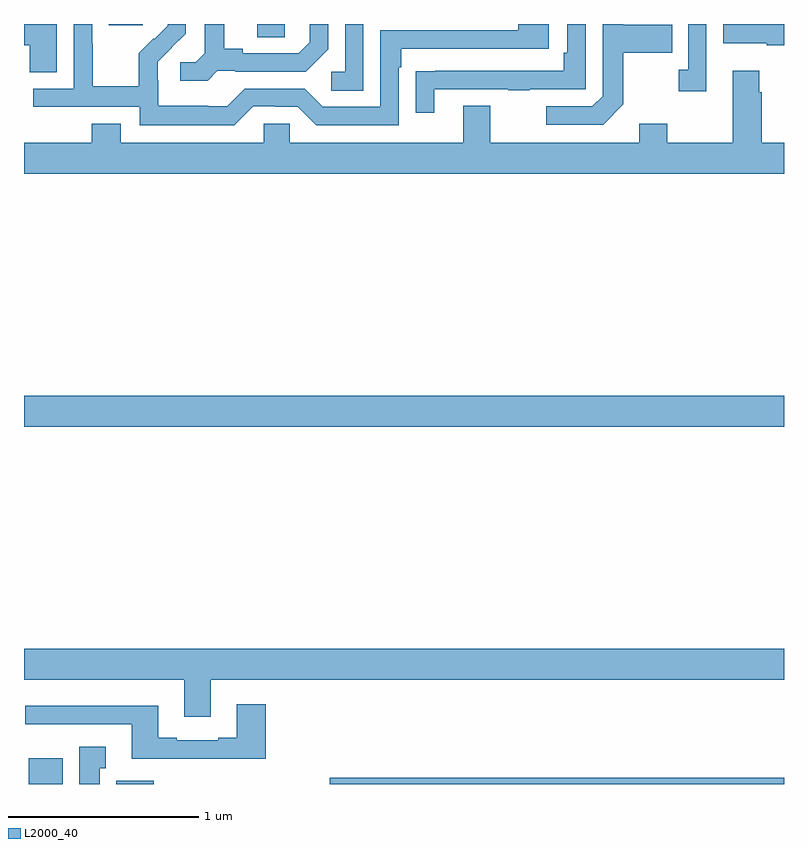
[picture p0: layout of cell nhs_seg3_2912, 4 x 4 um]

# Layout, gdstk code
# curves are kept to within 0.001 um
import gdstk
lib = gdstk.Library(unit=1e-6, precision=1e-09)
def R(c, l, rs):  # rectangles x0, y0, x1, y1
    for r in rs: c.add(gdstk.rectangle(r[:2], r[2:], *l))
def P(c, l, *ps):  # polygons
    for p in ps: c.add(gdstk.Polygon(p, *l))
L2000_40 = (2000, 40)

nhs_seg3_2912 = lib.new_cell('nhs_seg3_2912')
R(nhs_seg3_2912, L2000_40, [(263.024,668.4,263.203,668.536), (263.486,668.4,263.683,668.416), (264.609,668.4,267,668.432), (263,670.28,267,670.444), (264.227,672.331,264.372,672.4), (263.447,672.393,263.626,672.4)])
P(nhs_seg3_2912, L2000_40, [(264.207,671.967),(264.323,671.967),(264.323,671.964),(264.441,671.964),(264.537,671.868),(264.972,671.868),(264.972,672.173),(264.985,672.173),(264.985,672.27),(265.762,672.27),(265.762,672.4),(265.601,672.4),(265.601,672.366),(264.876,672.366),(264.876,671.964),(264.573,671.964),(264.477,672.06),(264.162,672.06),(264.069,671.967),(263.969,671.967),(263.969,671.971),(263.706,671.971),(263.706,672.105),(263.704,672.105),(263.704,672.202),(263.85,672.35),(263.85,672.4),(263.756,672.4),(263.756,672.392),(263.685,672.321),(263.682,672.324),(263.605,672.247),(263.605,672.073),(263.361,672.073),(263.361,672.296),(263.358,672.296),(263.358,672.4),(263.262,672.4),(263.262,672.06),(263.049,672.06),(263.049,671.964),(263.61,671.964),(263.61,671.867),(264.107,671.867)],
  [(264.018,672.153),(264.112,672.153),(264.112,672.15),(264.484,672.15),(264.6,672.266),(264.6,672.4),(264.503,672.4),(264.503,672.303),(264.446,672.246),(264.151,672.246),(264.151,672.269),(264.055,672.269),(264.055,672.4),(263.951,672.4),(263.951,672.245),(263.904,672.198),(263.823,672.198),(263.823,672.101),(263.966,672.101)],
  [(266.155,671.977),(266.155,672.25),(266.411,672.25),(266.411,672.397),(266.155,672.397),(266.155,672.4),(266.046,672.4),(266.046,672.021),(265.992,671.967),(265.749,671.967),(265.749,671.871),(266.049,671.871)],
  [(265.159,672.057),(265.549,672.057),(265.549,672.052),(265.661,672.052),(265.661,672.057),(265.956,672.057),(265.956,672.4),(265.86,672.4),(265.86,672.25),(265.84,672.25),(265.84,672.153),(265.165,672.153),(265.165,672.152),(265.063,672.152),(265.063,671.934),(265.159,671.934)],
  [(264.786,672.4),(264.69,672.4),(264.69,672.15),(264.618,672.15),(264.618,672.049),(264.786,672.049)],
  [(263.173,672.4),(263,672.4),(263,672.287),(263.03,672.287),(263.03,672.145),(263.173,672.145)],
  [(267,672.4),(266.679,672.4),(266.679,672.299),(266.909,672.299),(266.909,672.287),(267,672.287)],
  [(266.592,672.4),(266.496,672.4),(266.496,672.158),(266.445,672.158),(266.445,672.045),(266.592,672.045)],
  [(265.313,671.971),(265.313,671.776),(264.399,671.776),(264.399,671.874),(264.261,671.874),(264.261,671.776),(263.509,671.776),(263.509,671.875),(263.357,671.875),(263.357,671.776),(263,671.776),(263,671.612),(267,671.612),(267,671.776),(266.882,671.776),(266.882,672.041),(266.869,672.041),(266.869,672.154),(266.729,672.154),(266.729,671.776),(266.385,671.776),(266.385,671.875),(266.237,671.875),(266.237,671.776),(265.453,671.776),(265.453,671.971)],
  [(263.983,668.948),(267,668.948),(267,669.112),(263,669.112),(263,668.948),(263.843,668.948),(263.843,668.754),(263.983,668.754)],
  [(264.272,668.821),(264.119,668.821),(264.119,668.644),(264.023,668.644),(264.023,668.631),(263.803,668.631),(263.803,668.644),(263.707,668.644),(263.707,668.812),(263.007,668.812),(263.007,668.715),(263.567,668.715),(263.567,668.534),(264.272,668.534)],
  [(263.398,668.483),(263.431,668.483),(263.431,668.596),(263.291,668.596),(263.291,668.4),(263.398,668.4)])

lib.write_gds('nhs_seg3_2912.gds')
